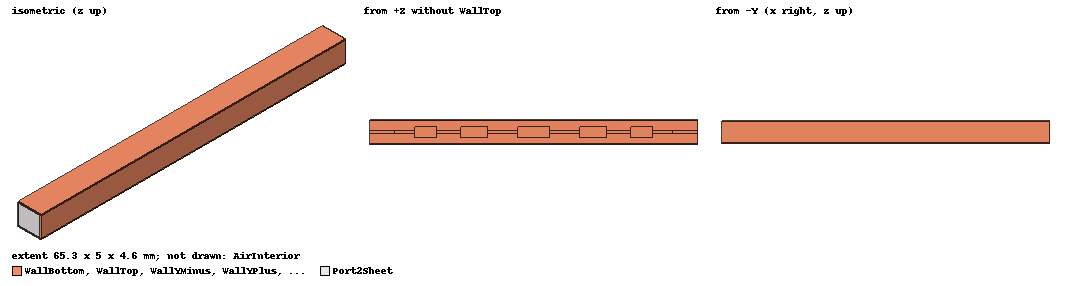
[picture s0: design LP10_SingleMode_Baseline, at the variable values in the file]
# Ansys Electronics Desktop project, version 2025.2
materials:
  vacuum: permittivity=1
  copper: permeability=0.999991 conductivity=58000000
  air: permittivity=1.0006 permeability=1.0000004
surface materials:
  Steel-oxidised-surface

design LP10_SingleMode_Baseline (HFSS, HFSS Modal Network, model units mm)
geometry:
  WallBottom [copper] = box(corner=(0mm, -2.5mm, -2.3mm), size=(65.3mm, 5mm, 0.2mm))
  WallTop [copper] = box(corner=(0mm, -2.5mm, 2.1mm), size=(65.3mm, 5mm, 0.2mm))
  WallYMinus [copper] = box(corner=(0mm, -2.5mm, -2.1mm), size=(65.3mm, 0.2mm, 4.2mm))
  WallYPlus [copper] = box(corner=(0mm, 2.3mm, -2.1mm), size=(65.3mm, 0.2mm, 4.2mm))
  InputFeed [copper] = box(corner=(0mm, -0.275mm, -0.1mm), size=(5mm, 0.55mm, 0.2mm))
  Section_01 [copper] = box(corner=(5mm, -0.275mm, -0.1mm), size=(3.9670014mm, 0.55mm, 0.2mm))
  Section_02 [copper] = box(corner=(8.9670014mm, -1.1mm, -0.1mm), size=(4.3637016mm, 2.2mm, 0.2mm))
  Section_03 [copper] = box(corner=(13.330703mm, -0.275mm, -0.1mm), size=(4.8397418mm, 0.55mm, 0.2mm))
  Section_04 [copper] = box(corner=(18.170445mm, -1.1mm, -0.1mm), size=(5.3554519mm, 2.2mm, 0.2mm))
  Section_05 [copper] = box(corner=(23.525897mm, -0.275mm, -0.1mm), size=(5.9505022mm, 0.55mm, 0.2mm))
  Section_06 [copper] = box(corner=(29.476399mm, -1.1mm, -0.1mm), size=(6.3472023mm, 2.2mm, 0.2mm))
  Section_07 [copper] = box(corner=(35.823601mm, -0.275mm, -0.1mm), size=(5.9505022mm, 0.55mm, 0.2mm))
  Section_08 [copper] = box(corner=(41.774103mm, -1.1mm, -0.1mm), size=(5.3554519mm, 2.2mm, 0.2mm))
  Section_09 [copper] = box(corner=(47.129555mm, -0.275mm, -0.1mm), size=(4.8397418mm, 0.55mm, 0.2mm))
  Section_10 [copper] = box(corner=(51.969297mm, -1.1mm, -0.1mm), size=(4.3637016mm, 2.2mm, 0.2mm))
  Section_11 [copper] = box(corner=(56.332999mm, -0.275mm, -0.1mm), size=(3.9670014mm, 0.55mm, 0.2mm))
  OutputFeed [copper] = box(corner=(60.3mm, -0.275mm, -0.1mm), size=(5mm, 0.55mm, 0.2mm))
  AirInterior [air] = box(corner=(0mm, -2.3mm, -2.1mm), size=(65.3mm, 4.6mm, 4.2mm))
  InputFeed_1 = InputFeed.copy()
  Section_01_1 = Section_01.copy()
  Section_02_1 = Section_02.copy()
  Section_03_1 = Section_03.copy()
  Section_04_1 = Section_04.copy()
  Section_05_1 = Section_05.copy()
  Section_06_1 = Section_06.copy()
  Section_07_1 = Section_07.copy()
  Section_08_1 = Section_08.copy()
  Section_09_1 = Section_09.copy()
  Section_10_1 = Section_10.copy()
  Section_11_1 = Section_11.copy()
  OutputFeed_1 = OutputFeed.copy()
  AirInterior.subtract(InputFeed_1, Section_01_1, Section_02_1, Section_03_1, Section_04_1, Section_05_1, Section_06_1, Section_07_1, Section_08_1, Section_09_1, Section_10_1, Section_11_1, OutputFeed_1)
  Port1Sheet = rectangle(corner=(0mm, -2.3mm, -2.1mm), y_size=4.6mm, z_size=4.2mm)
  Port2Sheet = rectangle(corner=(65.3mm, -2.3mm, -2.1mm), y_size=4.6mm, z_size=4.2mm)
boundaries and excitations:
  Port1: Wave Port Objects=Port1Sheet WavePortType=Modal NumModes=1 Modes{Mode1{CharImp=Zpi RenormImp=50ohm}}
  Port2: Wave Port Objects=Port2Sheet WavePortType=Modal NumModes=1 Modes{Mode1{CharImp=Zpi RenormImp=50ohm}}
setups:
  Setup1: HfssDriven Frequency=10GHz MaxDeltaS=0.02 MaximumPasses=10 MinimumPasses=2 MinimumConvergedPasses=1 PercentRefinement=30 BasisOrder=1 PortAccuracy=2 DrivenSolverType="Direct Solver"
    sweep Sweep1: 0.1GHz to 30GHz, 401 points; Type=Interpolating InterpTolerance=0.5 InterpMaxSolns=250 InterpUsePortImped=false PassivityErrorTolerance=0.0001
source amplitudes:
  Port1:1: 1W 0deg
  Port2:1: 0W 0deg
